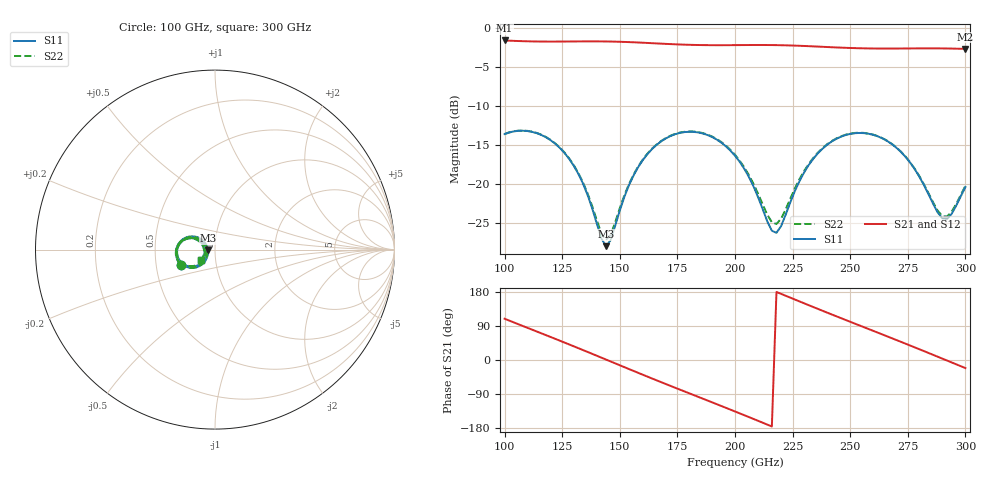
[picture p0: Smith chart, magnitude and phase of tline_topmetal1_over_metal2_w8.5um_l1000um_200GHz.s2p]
#  GHZ S DB R 50
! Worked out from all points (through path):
!   101 points, 100 GHz to 300 GHz, reference 50 ohm
!   highest |S21| = -1.57 dB at 100 GHz (marker M1); lowest = -2.7 dB at 300 GHz (marker M2)
!   group delay of S21, straight-line fit = 6.81 ps
!   lowest |S11| = -28.0 dB at 144 GHz (marker M3), VSWR 1.08, Z = 46.2 - j0.293 ohm
!   |S11| at or under -10 dB: start of sweep to end of sweep
!   |S22| runs from -27.2 to -13.2 dB; largest |S21 - S12| = 1.4e-13
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100  -13.61 -156.3  -1.57 108.9  -1.57 108.9  -13.59 -155.8
108  -13.18 -172.9  -1.66 89.5  -1.66 89.5  -13.16 -172.2
116  -13.73 170.8  -1.71 70.3  -1.71 70.3  -13.70 171.8
126  -16.04 152.2  -1.71 46.0  -1.71 46.0  -15.99 153.8
134  -19.96 142.8  -1.69 26.3  -1.69 26.3  -19.83 145.2
144  -28.03 -175.4  -1.70 1.2  -1.70 1.2  -27.24 -174.7
156  -18.92 -131.4  -1.81 -28.9  -1.81 -28.9  -18.81 -132.3
168  -14.54 -149.5  -1.98 -58.6  -1.98 -58.6  -14.49 -149.4
184  -13.40 179.9  -2.16 -97.2  -2.16 -97.2  -13.35 -179.1
200  -16.40 152.3  -2.17 -135.8  -2.17 -135.8  -16.27 154.5
210  -21.71 147.8  -2.15 -160.5  -2.15 -160.5  -21.28 151.5
216  -26.05 173.3  -2.16 -175.4  -2.16 -175.4  -24.96 175.3
218  -26.32 -169.8  -2.17 179.6  -2.17 179.6  -25.17 -170.5
226  -20.94 -135.8  -2.23 159.6  -2.23 159.6  -20.60 -139.0
234  -16.78 -140.1  -2.33 139.7  -2.33 139.7  -16.66 -142.0
250  -13.59 -166.3  -2.54 100.9  -2.54 100.9  -13.55 -167.0
258  -13.57 179.3  -2.59 81.7  -2.59 81.7  -13.55 179.1
268  -14.89 162.6  -2.61 57.7  -2.61 57.7  -14.86 162.8
280  -19.09 150.8  -2.59 28.4  -2.59 28.4  -19.02 151.6
290  -24.45 177.4  -2.59 3.6  -2.59 3.6  -24.16 178.0
294  -23.90 -158.7  -2.61 -6.3  -2.61 -6.3  -23.62 -159.0
300  -20.42 -142.2  -2.66 -21.3  -2.66 -21.3  -20.28 -142.8
